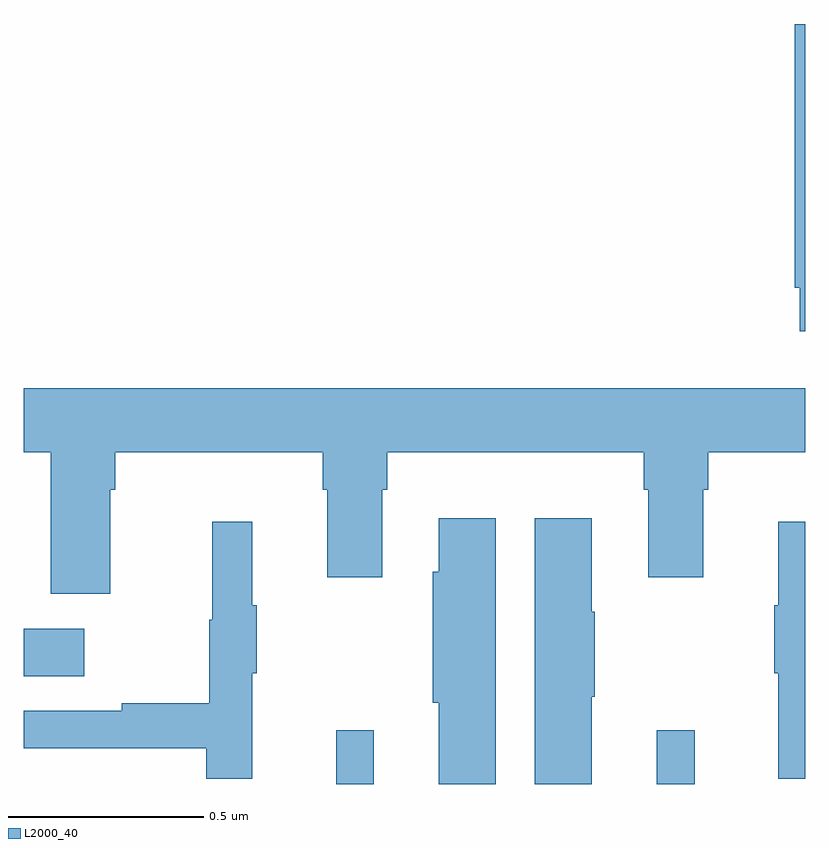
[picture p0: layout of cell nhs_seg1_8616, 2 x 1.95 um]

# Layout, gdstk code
import gdstk
lib = gdstk.Library(unit=1e-6, precision=1e-09)
def R(c, l, rs):  # rectangles x0, y0, x1, y1
    for r in rs: c.add(gdstk.rectangle(r[:2], r[2:], *l))
def P(c, l, *ps):  # polygons
    for p in ps: c.add(gdstk.Polygon(p, *l))
L2000_40 = (2000, 40)

nhs_seg1_8616 = lib.new_cell('nhs_seg1_8616')
R(nhs_seg1_8616, L2000_40, [(218.799,568.199,218.896,568.336), (219.62,568.199,219.717,568.336), (218,568.475,218.155,568.597)])
P(nhs_seg1_8616, L2000_40, [(220,570.145),(219.974,570.145),(219.974,569.47),(219.986,569.47),(219.986,569.358),(220,569.358)],
  [(218,569.048),(218.069,569.048),(218.069,568.686),(218.221,568.686),(218.221,568.952),(218.234,568.952),(218.234,569.048),(218.765,569.048),(218.765,568.952),(218.777,568.952),(218.777,568.728),(218.917,568.728),(218.917,568.952),(218.93,568.952),(218.93,569.048),(219.587,569.048),(219.587,568.952),(219.599,568.952),(219.599,568.728),(219.739,568.728),(219.739,568.952),(219.752,568.952),(219.752,569.048),(220,569.048),(220,569.212),(218,569.212)],
  [(219.454,568.423),(219.462,568.423),(219.462,568.64),(219.454,568.64),(219.454,568.879),(219.308,568.879),(219.308,568.199),(219.454,568.199)],
  [(219.208,568.879),(219.062,568.879),(219.062,568.743),(219.047,568.743),(219.047,568.407),(219.062,568.407),(219.062,568.199),(219.208,568.199)],
  [(220,568.87),(219.932,568.87),(219.932,568.657),(219.921,568.657),(219.921,568.483),(219.932,568.483),(219.932,568.212),(220,568.212)],
  [(218.585,568.483),(218.596,568.483),(218.596,568.657),(218.585,568.657),(218.585,568.87),(218.482,568.87),(218.482,568.62),(218.475,568.62),(218.475,568.406),(218.251,568.406),(218.251,568.386),(218,568.386),(218,568.29),(218.467,568.29),(218.467,568.212),(218.585,568.212)])

lib.write_gds('nhs_seg1_8616.gds')
